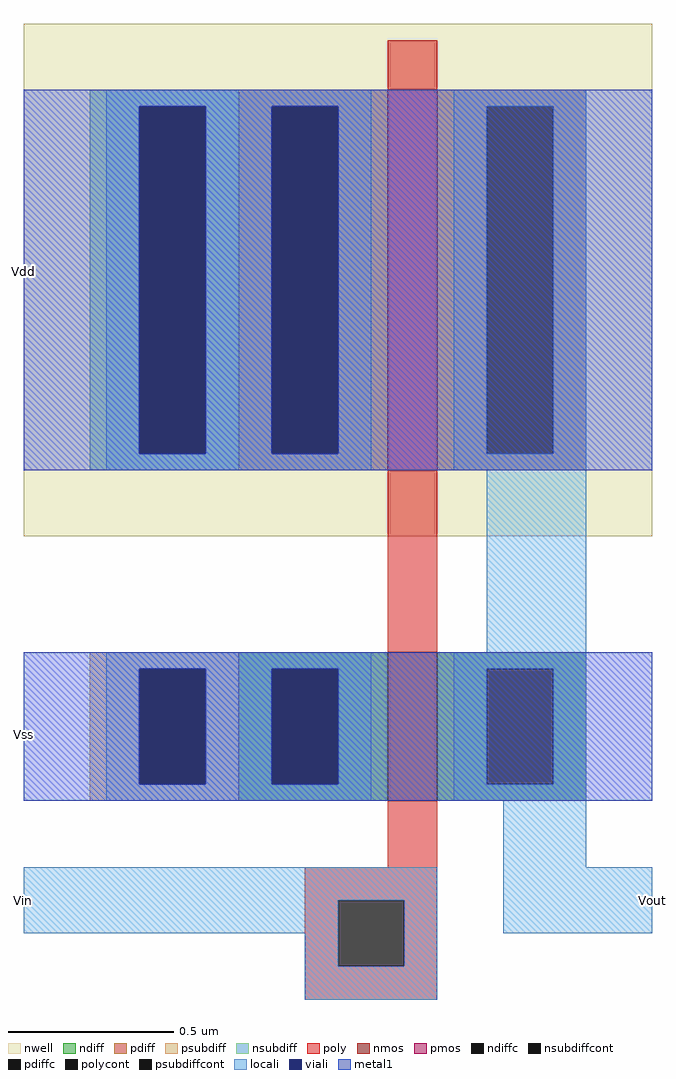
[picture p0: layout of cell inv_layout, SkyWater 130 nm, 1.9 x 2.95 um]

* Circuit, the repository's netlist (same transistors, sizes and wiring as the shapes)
* SPICE3 file created from inv_layout.ext - technology: sky130B

.subckt inv_layout Vin Vout Vdd Vss
X0 Vout Vin Vss Vss sky130_fd_pr__nfet_01v8 ad=0.2025 pd=1.8 as=0.2025 ps=1.8 w=0.45 l=0.15
X1 Vout Vin Vdd Vdd sky130_fd_pr__pfet_01v8 ad=0.5175 pd=3.2 as=0.5175 ps=3.2 w=1.15 l=0.15
.ends

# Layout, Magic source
magic
tech sky130B
<< nwell >>
rect -115 55 75 210
<< nmos >>
rect -5 -25 10 20
<< pmos >>
rect -5 75 10 190
<< ndiff >>
rect -50 15 -5 20
rect -50 -20 -40 15
rect -20 -20 -5 15
rect -50 -25 -5 -20
rect 10 15 55 20
rect 10 -20 25 15
rect 45 -20 55 15
rect 10 -25 55 -20
<< pdiff >>
rect -50 185 -5 190
rect -50 80 -40 185
rect -20 80 -5 185
rect -50 75 -5 80
rect 10 185 55 190
rect 10 80 25 185
rect 45 80 55 185
rect 10 75 55 80
<< ndiffc >>
rect -40 -20 -20 15
rect 25 -20 45 15
<< pdiffc >>
rect -40 80 -20 185
rect 25 80 45 185
<< psubdiff >>
rect -95 15 -50 20
rect -95 -20 -80 15
rect -60 -20 -50 15
rect -95 -25 -50 -20
<< nsubdiff >>
rect -95 185 -50 190
rect -95 80 -80 185
rect -60 80 -50 185
rect -95 75 -50 80
<< psubdiffcont >>
rect -80 -20 -60 15
<< nsubdiffcont >>
rect -80 80 -60 185
<< poly >>
rect -5 190 10 205
rect -5 20 10 75
rect -5 -45 10 -25
rect -30 -55 10 -45
rect -30 -75 -20 -55
rect 0 -75 10 -55
rect -30 -85 10 -75
<< polycont >>
rect -20 -75 0 -55
<< locali >>
rect -90 185 -10 190
rect -90 80 -80 185
rect -60 80 -40 185
rect -20 80 -10 185
rect -90 75 -10 80
rect 15 185 55 190
rect 15 80 25 185
rect 45 80 55 185
rect 15 75 55 80
rect 25 20 55 75
rect -90 15 -10 20
rect -90 -20 -80 15
rect -60 -20 -40 15
rect -20 -20 -10 15
rect -90 -25 -10 -20
rect 15 15 55 20
rect 15 -20 25 15
rect 45 -20 55 15
rect 15 -25 55 -20
rect 30 -45 55 -25
rect -115 -55 10 -45
rect -115 -65 -20 -55
rect -30 -75 -20 -65
rect 0 -75 10 -55
rect 30 -65 75 -45
rect -30 -85 10 -75
<< viali >>
rect -80 80 -60 185
rect -40 80 -20 185
rect -80 -20 -60 15
rect -40 -20 -20 15
<< metal1 >>
rect -115 185 75 190
rect -115 80 -80 185
rect -60 80 -40 185
rect -20 80 75 185
rect -115 75 75 80
rect -115 15 75 20
rect -115 -20 -80 15
rect -60 -20 -40 15
rect -20 -20 75 15
rect -115 -25 75 -20
<< labels >>
rlabel locali -115 -55 -115 -55 7 Vin
port 1 w
rlabel locali 75 -55 75 -55 3 Vout
port 2 e
rlabel metal1 -115 135 -115 135 7 Vdd
port 3 w
rlabel metal1 -115 -5 -115 -5 7 Vss
port 4 w
<< end >>
